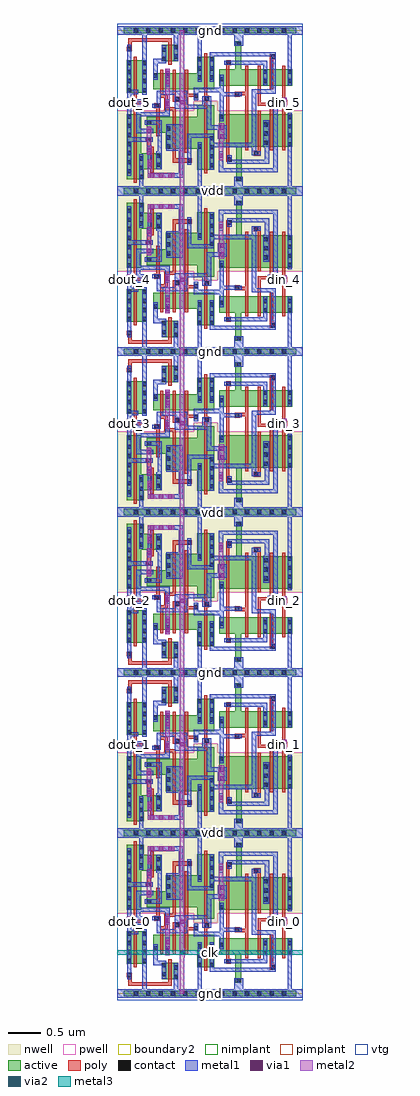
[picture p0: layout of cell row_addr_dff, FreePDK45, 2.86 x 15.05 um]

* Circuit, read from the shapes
.subckt row_addr_dff clk din_0 din_1 din_2 din_3 din_4 din_5 dout_0 dout_1 dout_2 dout_3 dout_4 dout_5 gnd vdd
M1 gnd n1 dout_0 gnd nfet w=0.5u l=0.05u
M2 gnd n2 dout_1 gnd nfet w=0.5u l=0.05u
M3 gnd n3 dout_2 gnd nfet w=0.5u l=0.05u
M4 gnd n4 dout_3 gnd nfet w=0.5u l=0.05u
M5 gnd n5 dout_4 gnd nfet w=0.5u l=0.05u
M6 gnd n6 dout_5 gnd nfet w=0.5u l=0.05u
M7 n1 n7 n8 gnd nfet w=0.25u l=0.05u
M8 n2 n9 n10 gnd nfet w=0.25u l=0.05u
M9 n3 n11 n12 gnd nfet w=0.25u l=0.05u
M10 n4 n13 n14 gnd nfet w=0.25u l=0.05u
M11 n5 n15 n16 gnd nfet w=0.25u l=0.05u
M12 n6 n17 n18 gnd nfet w=0.25u l=0.05u
M13 gnd dout_0 n8 gnd nfet w=0.25u l=0.05u
M14 gnd dout_1 n10 gnd nfet w=0.25u l=0.05u
M15 gnd dout_2 n12 gnd nfet w=0.25u l=0.05u
M16 gnd dout_3 n14 gnd nfet w=0.25u l=0.05u
M17 gnd dout_4 n16 gnd nfet w=0.25u l=0.05u
M18 gnd dout_5 n18 gnd nfet w=0.25u l=0.05u
M19 n19 clk n1 gnd nfet w=0.25u l=0.05u
M20 n20 clk n2 gnd nfet w=0.25u l=0.05u
M21 n21 clk n3 gnd nfet w=0.25u l=0.05u
M22 n22 clk n4 gnd nfet w=0.25u l=0.05u
M23 n23 clk n5 gnd nfet w=0.25u l=0.05u
M24 n24 clk n6 gnd nfet w=0.25u l=0.05u
M25 gnd n25 n19 gnd nfet w=0.25u l=0.05u
M26 gnd n26 n20 gnd nfet w=0.25u l=0.05u
M27 gnd n27 n21 gnd nfet w=0.25u l=0.05u
M28 gnd n28 n22 gnd nfet w=0.25u l=0.05u
M29 gnd n29 n23 gnd nfet w=0.25u l=0.05u
M30 gnd n30 n24 gnd nfet w=0.25u l=0.05u
M31 n7 clk gnd gnd nfet w=0.5u l=0.05u
M32 n9 clk gnd gnd nfet w=0.5u l=0.05u
M33 n11 clk gnd gnd nfet w=0.5u l=0.05u
M34 n13 clk gnd gnd nfet w=0.5u l=0.05u
M35 n15 clk gnd gnd nfet w=0.5u l=0.05u
M36 n17 clk gnd gnd nfet w=0.5u l=0.05u
M37 gnd n31 n25 gnd nfet w=0.25u l=0.05u
M38 gnd n32 n26 gnd nfet w=0.25u l=0.05u
M39 gnd n33 n27 gnd nfet w=0.25u l=0.05u
M40 gnd n34 n28 gnd nfet w=0.25u l=0.05u
M41 gnd n35 n29 gnd nfet w=0.25u l=0.05u
M42 gnd n36 n30 gnd nfet w=0.25u l=0.05u
M43 n37 n25 gnd gnd nfet w=0.25u l=0.05u
M44 n38 n26 gnd gnd nfet w=0.25u l=0.05u
M45 n39 n27 gnd gnd nfet w=0.25u l=0.05u
M46 n40 n28 gnd gnd nfet w=0.25u l=0.05u
M47 n41 n29 gnd gnd nfet w=0.25u l=0.05u
M48 n42 n30 gnd gnd nfet w=0.25u l=0.05u
M49 n31 clk n37 gnd nfet w=0.25u l=0.05u
M50 n32 clk n38 gnd nfet w=0.25u l=0.05u
M51 n33 clk n39 gnd nfet w=0.25u l=0.05u
M52 n34 clk n40 gnd nfet w=0.25u l=0.05u
M53 n35 clk n41 gnd nfet w=0.25u l=0.05u
M54 n36 clk n42 gnd nfet w=0.25u l=0.05u
M55 n43 n7 n31 gnd nfet w=0.25u l=0.05u
M56 n44 n9 n32 gnd nfet w=0.25u l=0.05u
M57 n45 n11 n33 gnd nfet w=0.25u l=0.05u
M58 n46 n13 n34 gnd nfet w=0.25u l=0.05u
M59 n47 n15 n35 gnd nfet w=0.25u l=0.05u
M60 n48 n17 n36 gnd nfet w=0.25u l=0.05u
M61 gnd din_0 n43 gnd nfet w=0.25u l=0.05u
M62 gnd din_1 n44 gnd nfet w=0.25u l=0.05u
M63 gnd din_2 n45 gnd nfet w=0.25u l=0.05u
M64 gnd din_3 n46 gnd nfet w=0.25u l=0.05u
M65 gnd din_4 n47 gnd nfet w=0.25u l=0.05u
M66 gnd din_5 n48 gnd nfet w=0.25u l=0.05u
M67 vdd n1 dout_0 vdd pfet w=1u l=0.05u
M68 vdd n2 dout_1 vdd pfet w=1u l=0.05u
M69 vdd n3 dout_2 vdd pfet w=1u l=0.05u
M70 vdd n4 dout_3 vdd pfet w=1u l=0.05u
M71 vdd n5 dout_4 vdd pfet w=1u l=0.05u
M72 vdd n6 dout_5 vdd pfet w=1u l=0.05u
M73 n49 dout_0 vdd vdd pfet w=0.25u l=0.05u
M74 n50 dout_1 vdd vdd pfet w=0.25u l=0.05u
M75 n51 dout_2 vdd vdd pfet w=0.25u l=0.05u
M76 n52 dout_3 vdd vdd pfet w=0.25u l=0.05u
M77 n53 dout_4 vdd vdd pfet w=0.25u l=0.05u
M78 n54 dout_5 vdd vdd pfet w=0.25u l=0.05u
M79 n1 clk n49 vdd pfet w=0.25u l=0.05u
M80 n2 clk n50 vdd pfet w=0.25u l=0.05u
M81 n3 clk n51 vdd pfet w=0.25u l=0.05u
M82 n4 clk n52 vdd pfet w=0.25u l=0.05u
M83 n5 clk n53 vdd pfet w=0.25u l=0.05u
M84 n6 clk n54 vdd pfet w=0.25u l=0.05u
M85 n55 n7 n1 vdd pfet w=0.5u l=0.05u
M86 n56 n9 n2 vdd pfet w=0.5u l=0.05u
M87 n57 n11 n3 vdd pfet w=0.5u l=0.05u
M88 n58 n13 n4 vdd pfet w=0.5u l=0.05u
M89 n59 n15 n5 vdd pfet w=0.5u l=0.05u
M90 n60 n17 n6 vdd pfet w=0.5u l=0.05u
M91 vdd n25 n55 vdd pfet w=0.5u l=0.05u
M92 vdd n26 n56 vdd pfet w=0.5u l=0.05u
M93 vdd n27 n57 vdd pfet w=0.5u l=0.05u
M94 vdd n28 n58 vdd pfet w=0.5u l=0.05u
M95 vdd n29 n59 vdd pfet w=0.5u l=0.05u
M96 vdd n30 n60 vdd pfet w=0.5u l=0.05u
M97 n7 clk vdd vdd pfet w=1u l=0.05u
M98 n9 clk vdd vdd pfet w=1u l=0.05u
M99 n11 clk vdd vdd pfet w=1u l=0.05u
M100 n13 clk vdd vdd pfet w=1u l=0.05u
M101 n15 clk vdd vdd pfet w=1u l=0.05u
M102 n17 clk vdd vdd pfet w=1u l=0.05u
M103 vdd n31 n25 vdd pfet w=0.5u l=0.05u
M104 vdd n32 n26 vdd pfet w=0.5u l=0.05u
M105 vdd n33 n27 vdd pfet w=0.5u l=0.05u
M106 vdd n34 n28 vdd pfet w=0.5u l=0.05u
M107 vdd n35 n29 vdd pfet w=0.5u l=0.05u
M108 vdd n36 n30 vdd pfet w=0.5u l=0.05u
M109 n61 n25 vdd vdd pfet w=0.5u l=0.05u
M110 n62 n26 vdd vdd pfet w=0.5u l=0.05u
M111 n63 n27 vdd vdd pfet w=0.5u l=0.05u
M112 n64 n28 vdd vdd pfet w=0.5u l=0.05u
M113 n65 n29 vdd vdd pfet w=0.5u l=0.05u
M114 n66 n30 vdd vdd pfet w=0.5u l=0.05u
M115 n31 n7 n61 vdd pfet w=0.5u l=0.05u
M116 n32 n9 n62 vdd pfet w=0.5u l=0.05u
M117 n33 n11 n63 vdd pfet w=0.5u l=0.05u
M118 n34 n13 n64 vdd pfet w=0.5u l=0.05u
M119 n35 n15 n65 vdd pfet w=0.5u l=0.05u
M120 n36 n17 n66 vdd pfet w=0.5u l=0.05u
M121 n67 clk n31 vdd pfet w=0.5u l=0.05u
M122 n68 clk n32 vdd pfet w=0.5u l=0.05u
M123 n69 clk n33 vdd pfet w=0.5u l=0.05u
M124 n70 clk n34 vdd pfet w=0.5u l=0.05u
M125 n71 clk n35 vdd pfet w=0.5u l=0.05u
M126 n72 clk n36 vdd pfet w=0.5u l=0.05u
M127 vdd din_0 n67 vdd pfet w=0.5u l=0.05u
M128 vdd din_1 n68 vdd pfet w=0.5u l=0.05u
M129 vdd din_2 n69 vdd pfet w=0.5u l=0.05u
M130 vdd din_3 n70 vdd pfet w=0.5u l=0.05u
M131 vdd din_4 n71 vdd pfet w=0.5u l=0.05u
M132 vdd din_5 n72 vdd pfet w=0.5u l=0.05u
.ends

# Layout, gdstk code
import gdstk
lib = gdstk.Library(unit=1e-6, precision=5e-10)
def R(c, l, rs):  # rectangles x0, y0, x1, y1
    for r in rs: c.add(gdstk.rectangle(r[:2], r[2:], *l))
def A(c, l, x, y, w, h, nx, ny, dx, dy):  # array of equal rectangles
    R(c, l, [(x+i*dx, y+j*dy, x+i*dx+w, y+j*dy+h) for i in range(nx) for j in range(ny)])
def P(c, l, *ps):  # polygons
    for p in ps: c.add(gdstk.Polygon(p, *l))
active = (1, 0)
pwell = (2, 0)
nwell = (3, 0)
nimplant = (4, 0)
pimplant = (5, 0)
vtg = (6, 0)
poly = (9, 0)
contact = (10, 0)
metal1 = (11, 0)
via1 = (12, 0)
metal2 = (13, 0)
via2 = (14, 0)
metal3 = (15, 0)
boundary2 = (239, 0)

dff = lib.new_cell('dff')
A(dff, active, 1.9725, 0.6, 0.05, 0.25, 4, 1, 0.19, 0)
A(dff, active, 2.0225, 0.6, 0.14, 0.25, 3, 1, 0.19, 0)
A(dff, active, 0.6625, 0.6575, 0.05, 0.25, 3, 1, 0.19, 0)
A(dff, active, 1.9725, 1.2925, 0.05, 0.5, 4, 1, 0.19, 0)
A(dff, active, 2.0225, 1.2925, 0.14, 0.5, 3, 1, 0.19, 0)
R(dff, active, [(0.1,-0.045,2.76,0.045), (0.6825,0.2225,0.7875,0.4725), (0.7875,0.2225,0.8375,0.4725), (0.8375,0.2225,0.9425,0.4725), (1.3375,0.4075,1.3875,0.9075), (1.3875,0.4075,1.4925,0.9075), (0.1475,0.4625,0.2525,0.9625), (0.2525,0.4625,0.3025,0.9625), (0.3025,0.4625,0.4575,0.9625), (1.5725,0.6,1.6775,0.85), (1.6775,0.6,1.7275,0.85), (2.5925,0.6,2.6975,0.85), (0.5525,0.6575,0.6625,0.9075), (0.7125,0.6575,0.8525,0.9075), (0.9025,0.6575,1.0425,0.9075), (1.3375,1.15,1.3875,2.15), (1.3875,1.15,1.4925,2.15), (0.1475,1.2925,0.2525,2.2925), (0.2525,1.2925,0.3025,2.2925), (1.5725,1.2925,1.6775,1.7925), (1.6775,1.2925,1.7275,1.7925), (2.5925,1.2925,2.6975,1.7925), (0.4525,1.3275,0.6025,1.5775), (0.6025,1.3275,0.6525,1.5775), (0.8525,1.3275,0.9025,1.8275), (0.9025,1.3275,1.0425,1.8275), (1.0425,1.3275,1.0925,1.8275), (0.5125,1.8925,0.5625,2.1425), (0.5625,1.8925,0.6675,2.1425), (0.1,2.425,2.76,2.515)])
P(dff, active, [(1.7275,1.2925),(1.9725,1.2925),(1.9725,1.7925),(1.9225,1.7925),(1.9225,2.3225),(1.8325,2.3225),(1.8325,1.7925),(1.7275,1.7925)],
  [(1.0925,1.3275),(1.2325,1.3275),(1.2325,1.15),(1.3375,1.15),(1.3375,2.15),(1.2325,2.15),(1.2325,1.8275),(1.0925,1.8275)],
  [(0.6525,1.3275),(0.8525,1.3275),(0.8525,1.8275),(0.7475,1.8275),(0.7475,1.5775),(0.6525,1.5775)],
  [(0.3025,1.2925),(0.3725,1.2925),(0.3725,1.8925),(0.5125,1.8925),(0.5125,2.1425),(0.4075,2.1425),(0.4075,2.2925),(0.3025,2.2925)],
  [(1.7275,0.6),(1.8225,0.6),(1.8225,0.165),(1.9125,0.165),(1.9125,0.6),(1.9725,0.6),(1.9725,0.85),(1.7275,0.85)],
  [(1.0925,0.6575),(1.2325,0.6575),(1.2325,0.4075),(1.3375,0.4075),(1.3375,0.9075),(1.0925,0.9075)])
P(dff, pwell, [(0,-0.1),(2.86,-0.1),(2.86,1.235),(1.5475,1.235),(1.5475,1.095),(1.1775,1.095),(1.1775,1.235),(0,1.235)])
P(dff, nwell, [(0,1.235),(1.1775,1.235),(1.1775,1.095),(1.5475,1.095),(1.5475,1.235),(2.86,1.235),(2.86,2.57),(0,2.57)])
A(dff, nimplant, 1.9725, 0.6, 0.05, 0.25, 4, 1, 0.19, 0)
A(dff, nimplant, 2.0225, 0.6, 0.14, 0.25, 3, 1, 0.19, 0)
A(dff, nimplant, 0.6625, 0.6575, 0.05, 0.25, 3, 1, 0.19, 0)
R(dff, nimplant, [(0.6825,0.2225,0.7875,0.4725), (0.7875,0.2225,0.8375,0.4725), (0.8375,0.2225,0.9425,0.4725), (1.3375,0.4075,1.3875,0.9075), (1.3875,0.4075,1.4925,0.9075), (0.1475,0.4625,0.2525,0.9625), (0.2525,0.4625,0.3025,0.9625), (0.3025,0.4625,0.4575,0.9625), (1.5725,0.6,1.6775,0.85), (1.6775,0.6,1.7275,0.85), (2.5925,0.6,2.6975,0.85), (0.5525,0.6575,0.6625,0.9075), (0.7125,0.6575,0.8525,0.9075), (0.9025,0.6575,1.0425,0.9075), (0.1,2.425,2.76,2.515)])
P(dff, nimplant, [(1.7275,0.6),(1.8225,0.6),(1.8225,0.165),(1.9125,0.165),(1.9125,0.6),(1.9725,0.6),(1.9725,0.85),(1.7275,0.85)],
  [(1.0925,0.6575),(1.2325,0.6575),(1.2325,0.4075),(1.3375,0.4075),(1.3375,0.9075),(1.0925,0.9075)])
A(dff, pimplant, 1.9725, 1.2925, 0.05, 0.5, 4, 1, 0.19, 0)
A(dff, pimplant, 2.0225, 1.2925, 0.14, 0.5, 3, 1, 0.19, 0)
R(dff, pimplant, [(0.1,-0.045,2.76,0.045), (1.3375,1.15,1.3875,2.15), (1.3875,1.15,1.4925,2.15), (0.1475,1.2925,0.2525,2.2925), (0.2525,1.2925,0.3025,2.2925), (1.5725,1.2925,1.6775,1.7925), (1.6775,1.2925,1.7275,1.7925), (2.5925,1.2925,2.6975,1.7925), (0.4525,1.3275,0.6025,1.5775), (0.6025,1.3275,0.6525,1.5775), (0.8525,1.3275,0.9025,1.8275), (0.9025,1.3275,1.0425,1.8275), (1.0425,1.3275,1.0925,1.8275), (0.5125,1.8925,0.5625,2.1425), (0.5625,1.8925,0.6675,2.1425)])
P(dff, pimplant, [(1.7275,1.2925),(1.9725,1.2925),(1.9725,1.7925),(1.9225,1.7925),(1.9225,2.3225),(1.8325,2.3225),(1.8325,1.7925),(1.7275,1.7925)],
  [(1.0925,1.3275),(1.2325,1.3275),(1.2325,1.15),(1.3375,1.15),(1.3375,2.15),(1.2325,2.15),(1.2325,1.8275),(1.0925,1.8275)],
  [(0.6525,1.3275),(0.8525,1.3275),(0.8525,1.8275),(0.7475,1.8275),(0.7475,1.5775),(0.6525,1.5775)],
  [(0.3025,1.2925),(0.3725,1.2925),(0.3725,1.8925),(0.5125,1.8925),(0.5125,2.1425),(0.4075,2.1425),(0.4075,2.2925),(0.3025,2.2925)])
R(dff, vtg, [(0,-0.1,2.86,2.57)])
A(dff, poly, 1.9725, 0.6, 0.05, 0.25, 4, 1, 0.19, 0)
A(dff, poly, 0.6625, 0.6025, 0.05, 0.055, 3, 1, 0.19, 0)
A(dff, poly, 0.6625, 0.6575, 0.05, 0.25, 3, 1, 0.19, 0)
A(dff, poly, 1.9725, 1.2925, 0.05, 0.5, 4, 1, 0.19, 0)
R(dff, poly, [(0.7875,0.2225,0.8375,0.4725), (1.3375,0.3525,1.3875,0.4075), (0.2525,0.4075,0.3025,0.4625), (1.3375,0.4075,1.3875,0.9075), (0.2525,0.4625,0.3025,0.9625), (0.7875,0.4725,0.8375,0.5275), (1.9725,0.545,2.0225,0.6), (2.1625,0.545,2.2125,0.6), (2.5425,0.545,2.5925,0.6), (1.6775,0.6,1.7275,0.85), (1.6775,0.85,1.7275,1.2925), (2.3525,0.85,2.4025,0.905), (1.3375,1.15,1.3875,2.15), (2.1625,1.2375,2.2125,1.2925), (0.2525,1.2925,0.3025,2.2925), (1.6775,1.2925,1.7275,1.7925), (0.6025,1.3275,0.6525,1.5775), (0.8525,1.3275,0.9025,1.8275), (1.0425,1.3275,1.0925,1.8275), (0.6025,1.5775,0.6525,1.6325), (1.9725,1.7925,2.0225,1.8475), (2.3525,1.7925,2.4025,1.8475), (2.5425,1.7925,2.5925,1.8475), (1.0425,1.8275,1.0925,1.8825), (0.5125,1.8925,0.5625,2.1425), (0.5125,2.1425,0.5625,2.1975), (1.3375,2.15,1.3875,2.205), (0.2525,2.2925,0.3025,2.3475)])
P(dff, poly, [(2.5425,0.85),(2.5925,0.85),(2.5925,1.0675),(2.6175,1.0675),(2.6175,1.1425),(2.5925,1.1425),(2.5925,1.2925),(2.5425,1.2925)],
  [(2.3525,0.365),(2.4475,0.365),(2.4475,0.44),(2.4025,0.44),(2.4025,0.6),(2.3525,0.6)],
  [(2.1075,1.8575),(2.1625,1.8575),(2.1625,1.7925),(2.2125,1.7925),(2.2125,1.9325),(2.1075,1.9325)],
  [(2.1625,0.85),(2.2125,0.85),(2.2125,1.1125),(2.4275,1.1125),(2.4275,1.1875),(2.4025,1.1875),(2.4025,1.2925),(2.3525,1.2925),(2.3525,1.1625),(2.1625,1.1625)],
  [(1.8125,0.945),(1.9725,0.945),(1.9725,0.85),(2.0225,0.85),(2.0225,1.2925),(1.9725,1.2925),(1.9725,0.995),(1.8875,0.995),(1.8875,1.02),(1.8125,1.02)],
  [(1.6775,1.7925),(1.7275,1.7925),(1.7275,1.9525),(1.7675,1.9525),(1.7675,2.0275),(1.6775,2.0275)],
  [(1.6775,0.46),(1.7525,0.46),(1.7525,0.535),(1.7275,0.535),(1.7275,0.6),(1.6775,0.6)],
  [(1.3375,0.9075),(1.3875,0.9075),(1.3875,1.01),(1.4175,1.01),(1.4175,1.085),(1.3875,1.085),(1.3875,1.15),(1.3375,1.15)],
  [(1.0425,0.9075),(1.0925,0.9075),(1.0925,0.9725),(1.2525,0.9725),(1.2525,1.0475),(1.1775,1.0475),(1.1775,1.0225),(1.0925,1.0225),(1.0925,1.3275),(1.0425,1.3275)],
  [(0.8525,1.8275),(0.9025,1.8275),(0.9025,1.9675),(1.1475,1.9675),(1.1475,2.0425),(0.8525,2.0425)],
  [(0.8525,0.9075),(0.9025,0.9075),(0.9025,1.0225),(0.9575,1.0225),(0.9575,1.0975),(0.8525,1.0975)],
  [(0.4425,1.6425),(0.5175,1.6425),(0.5175,1.7925),(0.5625,1.7925),(0.5625,1.8925),(0.5125,1.8925),(0.5125,1.8425),(0.4675,1.8425),(0.4675,1.7175),(0.4425,1.7175)],
  [(0.5675,1.1225),(0.6525,1.1225),(0.6525,1.3275),(0.6025,1.3275),(0.6025,1.1975),(0.5675,1.1975)],
  [(0.1475,0.2475),(0.1725,0.2475),(0.1725,0.1225),(0.8375,0.1225),(0.8375,0.2225),(0.7875,0.2225),(0.7875,0.1725),(0.2225,0.1725),(0.2225,0.3225),(0.1475,0.3225)],
  [(0.6625,0.9075),(0.7125,0.9075),(0.7125,0.9875),(0.7775,0.9875),(0.7775,1.1825),(0.9025,1.1825),(0.9025,1.3275),(0.8525,1.3275),(0.8525,1.2325),(0.7275,1.2325),(0.7275,1.0375),(0.6625,1.0375)],
  [(0.2525,0.9625),(0.3025,0.9625),(0.3025,1.0875),(0.4625,1.0875),(0.4625,1.1625),(0.3875,1.1625),(0.3875,1.1375),(0.3025,1.1375),(0.3025,1.2925),(0.2525,1.2925)])
A(dff, contact, 0.2575, -0.0325, 0.065, 0.065, 13, 2, 0.19, 2.47)
A(dff, contact, 1.2375, 0.4125, 0.065, 0.065, 1, 3, 0, 0.14)
A(dff, contact, 1.4225, 0.4125, 0.065, 0.065, 1, 3, 0, 0.14)
A(dff, contact, 0.1525, 0.4675, 0.065, 0.065, 1, 4, 0, 0.14)
A(dff, contact, 0.3875, 0.4675, 0.065, 0.065, 1, 4, 0, 0.14)
A(dff, contact, 0.1525, 1.2975, 0.065, 0.065, 1, 7, 0, 0.14)
A(dff, contact, 2.6275, 1.3025, 0.065, 0.065, 1, 4, 0, 0.14)
A(dff, contact, 2.2525, 1.4175, 0.065, 0.065, 1, 3, 0, 0.14)
A(dff, contact, 0.7525, 1.4775, 0.065, 0.065, 1, 3, 0, 0.14)
A(dff, contact, 1.4225, 1.6275, 0.065, 0.065, 1, 4, 0, 0.14)
A(dff, contact, 0.3375, 1.9425, 0.065, 0.065, 1, 3, 0, 0.14)
R(dff, contact, [(1.8425,0.17,1.9075,0.235), (0.8725,0.2275,0.9375,0.2925), (0.1525,0.2525,0.2175,0.3175), (0.6875,0.2625,0.7525,0.3275), (0.8725,0.3675,0.9375,0.4325), (2.3775,0.37,2.4425,0.435), (0.6875,0.4025,0.7525,0.4675), (1.6825,0.465,1.7475,0.53), (2.2475,0.605,2.3125,0.67), (2.6275,0.605,2.6925,0.67), (0.5575,0.6625,0.6225,0.7275), (0.7475,0.6625,0.8125,0.7275), (1.5775,0.72,1.6425,0.785), (2.2475,0.745,2.3125,0.81), (2.6275,0.745,2.6925,0.81), (1.8175,0.95,1.8825,1.015), (1.1825,0.9775,1.2475,1.0425), (1.3475,1.015,1.4125,1.08), (0.8875,1.0275,0.9525,1.0925), (2.5475,1.0725,2.6125,1.1375), (0.3925,1.0925,0.4575,1.1575), (2.3575,1.1175,2.4225,1.1825), (0.5725,1.1275,0.6375,1.1925), (1.5775,1.2975,1.6425,1.3625), (0.4575,1.3875,0.5225,1.4525), (0.4475,1.6475,0.5125,1.7125), (1.2375,1.7575,1.3025,1.8225), (2.1125,1.8625,2.1775,1.9275), (0.5975,1.8975,0.6625,1.9625), (1.6975,1.9575,1.7625,2.0225), (1.0775,1.9725,1.1425,2.0375), (0.5975,2.0375,0.6625,2.1025), (1.8375,2.2525,1.9025,2.3175)])
R(dff, metal1, [(0,-0.065,2.86,0.065), (0,-0.065,2.86,0.065), (0.7475,0.5875,0.8125,0.8625), (0.1525,0.915,0.2175,1.1275), (0.8875,0.9275,1.0825,1.2075), (2.5375,1.0375,2.615,1.1725), (0.15,1.0475,0.2275,1.1825), (0.4675,1.7775,0.5325,2.1275), (0.1,2.405,2.86,2.535), (0.1,2.405,2.86,2.535)])
P(dff, metal1, [(0,2.405),(0.3375,2.405),(0.3375,1.9075),(0.4025,1.9075),(0.4025,2.405),(1.2375,2.405),(1.2375,1.7225),(1.3025,1.7225),(1.3025,2.405),(1.8025,2.405),(1.8025,2.2525),(1.9375,2.2525),(1.9375,2.405),(2.6275,2.405),(2.6275,1.2675),(2.6925,1.2675),(2.6925,2.405),(2.76,2.405),(2.76,2.535),(0,2.535)],
  [(0.1,-0.065),(2.76,-0.065),(2.76,0.065),(2.6925,0.065),(2.6925,0.845),(2.6275,0.845),(2.6275,0.065),(1.9425,0.065),(1.9425,0.235),(1.8075,0.235),(1.8075,0.065),(1.3025,0.065),(1.3025,0.7925),(1.2375,0.7925),(1.2375,0.065),(0.9375,0.065),(0.9375,0.4675),(0.8725,0.4675),(0.8725,0.065),(0.4525,0.065),(0.4525,0.9875),(0.3875,0.9875),(0.3875,0.065),(0.1,0.065)],
  [(1.0775,1.5925),(1.4875,1.5925),(1.4875,1.7325),(2.0775,1.7325),(2.0775,0.91),(2.3775,0.91),(2.3775,0.4),(1.4875,0.4),(1.4875,0.7925),(1.4225,0.7925),(1.4225,0.335),(2.4425,0.335),(2.4425,0.975),(2.1425,0.975),(2.1425,1.8625),(2.2125,1.8625),(2.2125,1.9275),(2.0775,1.9275),(2.0775,1.7975),(1.4875,1.7975),(1.4875,2.1475),(1.4225,2.1475),(1.4225,1.6575),(1.1425,1.6575),(1.1425,2.0725),(1.0775,2.0725)],
  [(0.5375,1.1275),(0.6075,1.1275),(0.6075,0.9275),(1.0825,0.9275),(1.0825,1.1425),(1.3125,1.1425),(1.3125,1.015),(1.4475,1.015),(1.4475,1.4625),(1.6875,1.4625),(1.6875,1.6675),(1.5525,1.6675),(1.5525,1.5275),(1.3825,1.5275),(1.3825,1.2075),(0.8875,1.2075),(0.8875,0.9925),(0.6725,0.9925),(0.6725,1.1925),(0.5375,1.1925)],
  [(1.5675,1.8625),(1.6325,1.8625),(1.6325,2.1225),(2.4075,2.1225),(2.4075,1.1825),(2.3225,1.1825),(2.3225,1.1175),(2.4725,1.1175),(2.4725,2.1875),(1.5675,2.1875)],
  [(1.6975,1.9225),(1.7625,1.9225),(1.7625,1.9925),(2.2775,1.9925),(2.2775,1.7975),(2.2525,1.7975),(2.2525,1.3825),(2.3425,1.3825),(2.3425,2.0575),(1.6975,2.0575)],
  [(1.6475,0.465),(2.3125,0.465),(2.3125,0.845),(2.2475,0.845),(2.2475,0.53),(1.6475,0.53)],
  [(1.1825,0.885),(1.5775,0.885),(1.5775,0.685),(1.6425,0.685),(1.6425,0.95),(1.9175,0.95),(1.9175,1.015),(1.6425,1.015),(1.6425,1.3975),(1.5775,1.3975),(1.5775,0.95),(1.2475,0.95),(1.2475,1.0775),(1.1825,1.0775)],
  [(0.4675,2.2025),(0.9475,2.2025),(0.9475,1.8575),(0.7525,1.8575),(0.7525,1.4425),(1.0125,1.4425),(1.0125,2.2675),(0.4675,2.2675)],
  [(0.2925,1.0575),(0.4575,1.0575),(0.4575,1.1925),(0.3575,1.1925),(0.3575,1.2575),(0.7425,1.2575),(0.7425,1.0575),(0.8075,1.0575),(0.8075,1.3225),(0.3575,1.3225),(0.3575,1.5175),(0.5575,1.5175),(0.5575,1.5825),(0.2925,1.5825)],
  [(0.4225,1.3875),(0.6875,1.3875),(0.6875,2.1375),(0.5975,2.1375),(0.5975,1.8625),(0.6225,1.8625),(0.6225,1.4525),(0.4225,1.4525)],
  [(0.1525,0.2175),(0.2175,0.2175),(0.2175,0.9175),(0.3225,0.9175),(0.3225,0.9825),(0.2175,0.9825),(0.2175,1.6475),(0.5475,1.6475),(0.5475,1.7125),(0.2175,1.7125),(0.2175,2.2375),(0.1525,2.2375)],
  [(0.5575,0.4375),(0.6875,0.4375),(0.6875,0.2275),(0.7525,0.2275),(0.7525,0.5025),(0.6225,0.5025),(0.6225,0.7625),(0.5575,0.7625)])
A(dff, via1, 0.5025, 2.2025, 0.065, 0.065, 3, 1, 0.14, 0)
R(dff, via1, [(0.7475,0.6225,0.8125,0.6875), (0.7475,0.7625,0.8125,0.8275), (0.97,1.0725,1.035,1.1375), (2.5475,1.0725,2.6125,1.1375), (0.155,1.0825,0.22,1.1475), (0.7425,1.0925,0.8075,1.1575), (1.5875,1.4625,1.6525,1.5275), (0.4575,1.5175,0.5225,1.5825), (1.5875,1.6025,1.6525,1.6675), (0.4675,1.8125,0.5325,1.8775), (1.5675,1.8975,1.6325,1.9625), (0.4675,2.0275,0.5325,2.0925)])
R(dff, metal2, [(0.7425,0.5875,0.8125,1.1925), (0.9625,1.0375,1.04,1.1725), (0.9625,1.0375,1.04,1.1725), (2.5375,1.0375,2.615,1.1725), (2.5375,1.0375,2.615,1.1725), (0.15,1.0475,0.2275,1.1825), (0.15,1.0475,0.2275,1.1825)])
P(dff, metal2, [(1.5675,1.4275),(1.6525,1.4275),(1.6525,1.7025),(1.6375,1.7025),(1.6375,1.9975),(1.5675,1.9975)],
  [(0.4675,1.9925),(0.5375,1.9925),(0.5375,2.1975),(0.8825,2.1975),(0.8825,2.2675),(0.4675,2.2675)],
  [(0.4575,1.4825),(0.5275,1.4825),(0.5275,1.7775),(0.5325,1.7775),(0.5325,1.9125),(0.4575,1.9125)])
R(dff, boundary2, [(0,0,2.86,2.475)])
dff.add(gdstk.Label('clk', (0.995,1.15), layer=13, texttype=0))
dff.add(gdstk.Label('D', (2.565,1.15), layer=13, texttype=0))
dff.add(gdstk.Label('Q', (0.175,1.1), layer=13, texttype=0))
dff.add(gdstk.Label('gnd', (1.215,0.0425), layer=11, texttype=0))
dff.add(gdstk.Label('vdd', (0.825,2.5325), layer=11, texttype=0))
dff.add(gdstk.Label('D', (2.576,1.105), layer=13, texttype=0))
dff.add(gdstk.Label('Q', (0.189,1.115), layer=13, texttype=0))
dff.add(gdstk.Label('clk', (1.001,1.105), layer=13, texttype=0))
dff.add(gdstk.Label('vdd', (1.48,2.47), layer=11, texttype=0))
dff.add(gdstk.Label('gnd', (1.43,0), layer=11, texttype=0))

contact_5 = lib.new_cell('contact_5')
R(contact_5, metal1, [(0,0.0025,0.135,0.0675)])
R(contact_5, via1, [(0.035,0.0025,0.1,0.0675)])
R(contact_5, metal2, [(0,0,0.135,0.07)])

contact_6 = lib.new_cell('contact_6')
R(contact_6, metal2, [(0,0,0.135,0.07)])
R(contact_6, via2, [(0.035,0.0025,0.1,0.0675)])
R(contact_6, metal3, [(0,0,0.135,0.07)])

contact_7 = lib.new_cell('contact_7')
R(contact_7, metal2, [(0.0325,0,0.1025,0.135)])
R(contact_7, via2, [(0.035,0.035,0.1,0.1)])
R(contact_7, metal3, [(0,0.0325,0.135,0.1025)])

row_addr_dff = lib.new_cell('row_addr_dff')
R(row_addr_dff, metal2, [(0.9625,0,1.0325,14.85), (2.5375,1.0375,2.615,1.1725), (0.15,1.0475,0.2275,1.1825), (0.15,3.7675,0.2275,3.9025), (2.5375,3.7775,2.615,3.9125), (2.5375,5.9875,2.615,6.1225), (0.15,5.9975,0.2275,6.1325), (0.15,8.7175,0.2275,8.8525), (2.5375,8.7275,2.615,8.8625), (2.5375,10.9375,2.615,11.0725), (0.15,10.9475,0.2275,11.0825), (0.15,13.6675,0.2275,13.8025), (2.5375,13.6775,2.615,13.8125)])
A(row_addr_dff, metal3, 1.3625, -0.035, 0.135, 0.07, 1, 4, 0, 4.95)
R(row_addr_dff, metal3, [(0,0.595,2.86,0.665), (1.4125,2.435,1.5475,2.505), (1.4125,2.445,1.5475,2.515), (1.4125,7.385,1.5475,7.455), (1.4125,7.395,1.5475,7.465), (1.4125,12.335,1.5475,12.405), (1.4125,12.345,1.5475,12.415)])
R(row_addr_dff, boundary2, [(0,0,2.86,14.85)])
row_addr_dff.add(gdstk.Reference(dff, (0,0)))
row_addr_dff.add(gdstk.Reference(dff, (0,4.95), x_reflection=True))
row_addr_dff.add(gdstk.Reference(dff, (0,4.95)))
row_addr_dff.add(gdstk.Reference(dff, (0,9.9), x_reflection=True))
row_addr_dff.add(gdstk.Reference(dff, (0,9.9)))
row_addr_dff.add(gdstk.Reference(dff, (0,14.85), x_reflection=True))
row_addr_dff.add(gdstk.Reference(contact_5, (1.4125,2.435)))
row_addr_dff.add(gdstk.Reference(contact_6, (1.4125,2.435)))
row_addr_dff.add(gdstk.Reference(contact_5, (1.3625,-0.035)))
row_addr_dff.add(gdstk.Reference(contact_6, (1.3625,-0.035)))
row_addr_dff.add(gdstk.Reference(contact_5, (1.4125,2.445)))
row_addr_dff.add(gdstk.Reference(contact_6, (1.4125,2.445)))
row_addr_dff.add(gdstk.Reference(contact_5, (1.3625,4.915)))
row_addr_dff.add(gdstk.Reference(contact_6, (1.3625,4.915)))
row_addr_dff.add(gdstk.Reference(contact_5, (1.4125,7.385)))
row_addr_dff.add(gdstk.Reference(contact_6, (1.4125,7.385)))
row_addr_dff.add(gdstk.Reference(contact_5, (1.3625,4.915)))
row_addr_dff.add(gdstk.Reference(contact_6, (1.3625,4.915)))
row_addr_dff.add(gdstk.Reference(contact_5, (1.4125,7.395)))
row_addr_dff.add(gdstk.Reference(contact_6, (1.4125,7.395)))
row_addr_dff.add(gdstk.Reference(contact_5, (1.3625,9.865)))
row_addr_dff.add(gdstk.Reference(contact_6, (1.3625,9.865)))
row_addr_dff.add(gdstk.Reference(contact_5, (1.4125,12.335)))
row_addr_dff.add(gdstk.Reference(contact_6, (1.4125,12.335)))
row_addr_dff.add(gdstk.Reference(contact_5, (1.3625,9.865)))
row_addr_dff.add(gdstk.Reference(contact_6, (1.3625,9.865)))
row_addr_dff.add(gdstk.Reference(contact_5, (1.4125,12.345)))
row_addr_dff.add(gdstk.Reference(contact_6, (1.4125,12.345)))
row_addr_dff.add(gdstk.Reference(contact_5, (1.3625,14.815)))
row_addr_dff.add(gdstk.Reference(contact_6, (1.3625,14.815)))
row_addr_dff.add(gdstk.Reference(contact_7, (0.935,0.5625)))
row_addr_dff.add(gdstk.Label('vdd', (1.48,7.42), layer=15, texttype=0))
row_addr_dff.add(gdstk.Label('vdd', (1.48,2.48), layer=15, texttype=0))
row_addr_dff.add(gdstk.Label('vdd', (1.48,7.43), layer=15, texttype=0))
row_addr_dff.add(gdstk.Label('vdd', (1.48,12.38), layer=15, texttype=0))
row_addr_dff.add(gdstk.Label('vdd', (1.48,12.37), layer=15, texttype=0))
row_addr_dff.add(gdstk.Label('vdd', (1.48,2.47), layer=15, texttype=0))
row_addr_dff.add(gdstk.Label('gnd', (1.43,4.95), layer=15, texttype=0))
row_addr_dff.add(gdstk.Label('gnd', (1.43,0), layer=15, texttype=0))
row_addr_dff.add(gdstk.Label('gnd', (1.43,9.9), layer=15, texttype=0))
row_addr_dff.add(gdstk.Label('gnd', (1.43,14.85), layer=15, texttype=0))
row_addr_dff.add(gdstk.Label('din_0', (2.576,1.105), layer=13, texttype=0))
row_addr_dff.add(gdstk.Label('dout_0', (0.189,1.115), layer=13, texttype=0))
row_addr_dff.add(gdstk.Label('din_1', (2.576,3.845), layer=13, texttype=0))
row_addr_dff.add(gdstk.Label('dout_1', (0.189,3.835), layer=13, texttype=0))
row_addr_dff.add(gdstk.Label('din_2', (2.576,6.055), layer=13, texttype=0))
row_addr_dff.add(gdstk.Label('dout_2', (0.189,6.065), layer=13, texttype=0))
row_addr_dff.add(gdstk.Label('din_3', (2.576,8.795), layer=13, texttype=0))
row_addr_dff.add(gdstk.Label('dout_3', (0.189,8.785), layer=13, texttype=0))
row_addr_dff.add(gdstk.Label('din_4', (2.576,11.005), layer=13, texttype=0))
row_addr_dff.add(gdstk.Label('dout_4', (0.189,11.015), layer=13, texttype=0))
row_addr_dff.add(gdstk.Label('din_5', (2.576,13.745), layer=13, texttype=0))
row_addr_dff.add(gdstk.Label('dout_5', (0.189,13.735), layer=13, texttype=0))
row_addr_dff.add(gdstk.Label('clk', (1.43,0.63), layer=15, texttype=0))

lib.write_gds('row_addr_dff.gds')
